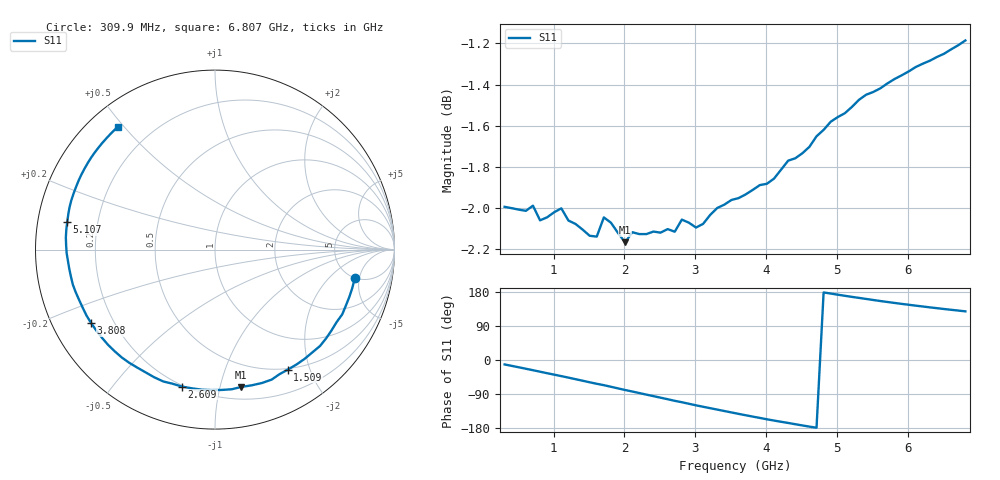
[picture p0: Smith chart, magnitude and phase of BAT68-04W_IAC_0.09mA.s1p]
! Infineon Technologies  Discrete & RF Semiconductors
! BAT68-04W
! IAC = 0.09 mA
! One-Port S-Parameters
# Hz  S  MA  R  50
!f  S11
!Hz  Mag  Ang
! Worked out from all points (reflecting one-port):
!   66 points, 309.9 MHz to 6.807 GHz, reference 50 ohm
!   lowest |S11| = -2.2 dB at 2.009 GHz (marker M1), VSWR 8.06, Z = 15 - j58.2 ohm
!   phase of S11 starts at -12 deg and turns -220 deg over the sweep
!   S11 on the Smith chart (normalised r, x): 309.9 MHz: 4.91, -4.29; 1.509 GHz: 0.48, -1.67; 2.609 GHz: 0.19, -0.77; 3.808 GHz: 0.12, -0.27; 5.107 GHz: 0.09, +0.09; 6.807 GHz: 0.08, +0.48
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3.0985e8  0.7949 -11.7
5.0975e8  0.7936 -19.3
7.0965e8  0.7954 -27.0
1.0095e9  0.7925 -38.7
1.2094e9  0.7888 -46.5
1.50925e9  0.7821 -58.8
1.70915e9  0.7902 -66.4
1.8091e9  0.7878 -70.6
2.009e9  0.7792 -79.2
2.10895e9  0.7837 -83.1
2.30885e9  0.7828 -91.4
2.6087e9  0.785 -103.5
2.8086e9  0.7892 -111.4
3.0085e9  0.7857 -119.6
3.30835e9  0.7944 -130.9
3.6082e9  0.7987 -142.1
3.8081e9  0.8024 -149.3
4.10795e9  0.8075 -159.8
4.4078e9  0.8167 -169.5
4.70765e9  0.8269 -178.7
4.90755e9  0.8336 175.4
5.10745e9  0.8376 169.4
5.2074e9  0.8406 166.6
5.4073e9  0.8463 161.1
5.6072e9  0.8494 155.6
6.007e9  0.8574 145.8
6.4068e9  0.8644 136.7
6.8066e9  0.8724 128.4
